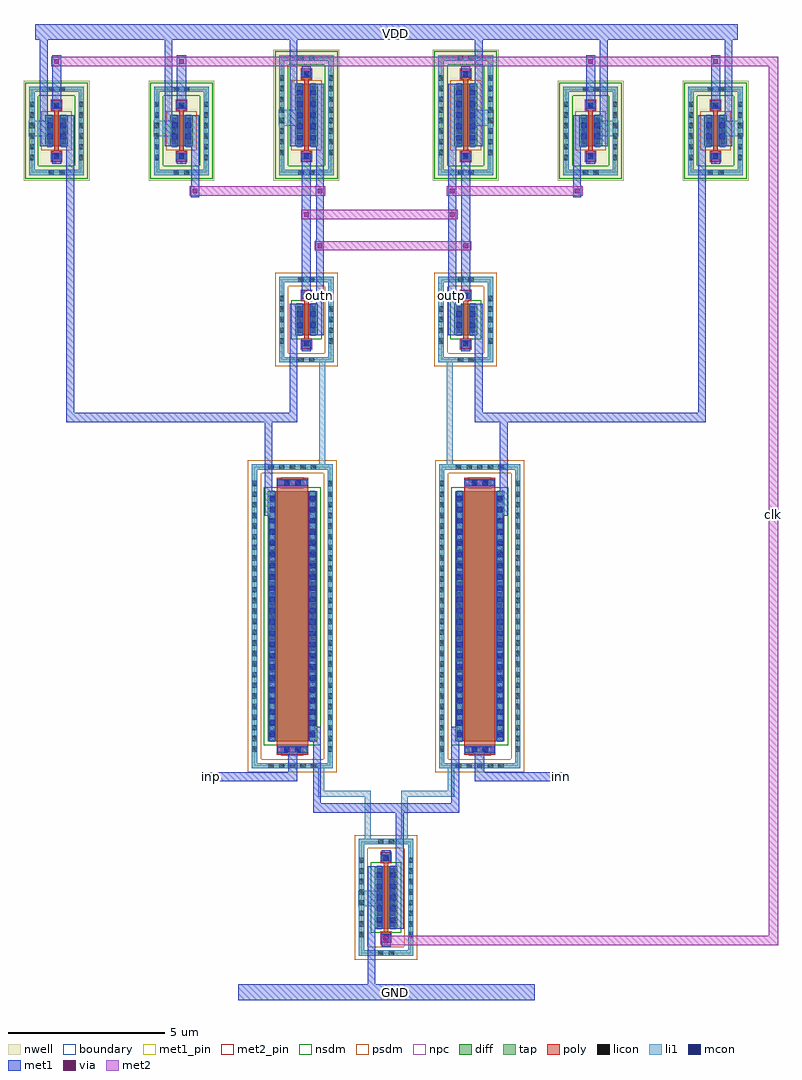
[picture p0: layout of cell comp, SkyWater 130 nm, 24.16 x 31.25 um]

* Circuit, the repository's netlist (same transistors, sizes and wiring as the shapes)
* StrongARM latch comparator (sky130)
.subckt comp clk inp inn outp outn VDD GND
* tail switch: turns the comparator on when clk is high
XM0 tail clk GND GND sky130_fd_pr__nfet_01v8 L=0.15 W=2 nf=1
* input pair: the "race"
XM1 X inp tail GND sky130_fd_pr__nfet_01v8 L=1 W=8 nf=1
XM2 Y inn tail GND sky130_fd_pr__nfet_01v8 L=1 W=8 nf=1
* cross-coupled pair: positive feedback
XM3 outn outp X GND sky130_fd_pr__nfet_01v8 L=0.15 W=1 nf=1
XM4 outp outn Y GND sky130_fd_pr__nfet_01v8 L=0.15 W=1 nf=1
XM5 outn outp VDD VDD sky130_fd_pr__pfet_01v8 L=0.15 W=2 nf=1
XM6 outp outn VDD VDD sky130_fd_pr__pfet_01v8 L=0.15 W=2 nf=1
* reset switches: pull everything to VDD when clk is low
XM7 outn clk VDD VDD sky130_fd_pr__pfet_01v8 L=0.15 W=1 nf=1
XM8 outp clk VDD VDD sky130_fd_pr__pfet_01v8 L=0.15 W=1 nf=1
XM9 X clk VDD VDD sky130_fd_pr__pfet_01v8 L=0.15 W=1 nf=1
XM10 Y clk VDD VDD sky130_fd_pr__pfet_01v8 L=0.15 W=1 nf=1
.ends

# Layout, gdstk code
import gdstk
lib = gdstk.Library(unit=1e-6, precision=1e-09)
def R(c, l, rs):  # rectangles x0, y0, x1, y1
    for r in rs: c.add(gdstk.rectangle(r[:2], r[2:], *l))
def A(c, l, x, y, w, h, nx, ny, dx, dy):  # array of equal rectangles
    R(c, l, [(x+i*dx, y+j*dy, x+i*dx+w, y+j*dy+h) for i in range(nx) for j in range(ny)])
nwell = (64, 20)
diff = (65, 20)
tap = (65, 44)
poly = (66, 20)
licon = (66, 44)
li1 = (67, 20)
mcon = (67, 44)
met1_pin = (68, 16)
met1 = (68, 20)
via = (68, 44)
met2_pin = (69, 16)
met2 = (69, 20)
nsdm = (93, 44)
psdm = (94, 20)
npc = (95, 20)
boundary = (235, 4)

sky130_fd_pr__nfet_01v8_ = lib.new_cell('sky130_fd_pr__nfet_01v8_TPXDG7')
R(sky130_fd_pr__nfet_01v8_, diff, [(-0.79,-4,0.79,4)])
R(sky130_fd_pr__nfet_01v8_, tap, [(-1.3,-4.87,1.3,-4.7), (-1.3,-4.7,-1.13,4.7), (1.13,-4.7,1.3,4.7), (-1.3,4.7,1.3,4.87)])
R(sky130_fd_pr__nfet_01v8_, poly, [(-0.5,-4.44,0.5,4.44)])
A(sky130_fd_pr__nfet_01v8_, licon, -0.765, -4.87, 0.17, 0.17, 5, 2, 0.34, 9.57)
A(sky130_fd_pr__nfet_01v8_, licon, -1.3, -4.335, 0.17, 0.17, 1, 26, 0, 0.34)
A(sky130_fd_pr__nfet_01v8_, licon, 1.13, -4.335, 0.17, 0.17, 1, 26, 0, 0.34)
A(sky130_fd_pr__nfet_01v8_, licon, -0.73, -3.825, 0.17, 0.17, 1, 23, 0, 0.34)
A(sky130_fd_pr__nfet_01v8_, licon, 0.56, -3.825, 0.17, 0.17, 1, 23, 0, 0.34)
R(sky130_fd_pr__nfet_01v8_, licon, [(-0.255,-4.36,-0.085,-4.19), (0.085,-4.36,0.255,-4.19), (-0.255,4.19,-0.085,4.36), (0.085,4.19,0.255,4.36)])
R(sky130_fd_pr__nfet_01v8_, li1, [(-1.3,-4.87,1.3,-4.7), (-1.3,-4.7,-1.13,4.7), (1.13,-4.7,1.3,4.7), (-0.5,-4.36,0.5,-4.19), (-0.73,-4.02,-0.56,4.02), (0.56,-4.02,0.73,4.02), (-0.5,4.19,0.5,4.36), (-1.3,4.7,1.3,4.87)])
A(sky130_fd_pr__nfet_01v8_, mcon, -0.73, -3.865, 0.17, 0.17, 1, 22, 0, 0.36)
A(sky130_fd_pr__nfet_01v8_, mcon, 0.56, -3.865, 0.17, 0.17, 1, 22, 0, 0.36)
R(sky130_fd_pr__nfet_01v8_, mcon, [(-0.265,-4.36,-0.095,-4.19), (0.095,-4.36,0.265,-4.19), (-0.265,4.19,-0.095,4.36), (0.095,4.19,0.265,4.36)])
R(sky130_fd_pr__nfet_01v8_, met1, [(-0.48,-4.39,0.48,-4.16), (-0.76,-4,-0.53,4), (0.53,-4,0.76,4), (-0.48,4.16,0.48,4.39)])
R(sky130_fd_pr__nfet_01v8_, nsdm, [(-0.915,-4.125,0.915,4.125)])
R(sky130_fd_pr__nfet_01v8_, psdm, [(-1.425,-4.995,1.425,-4.575), (-1.425,-4.575,-1.005,4.575), (1.005,-4.575,1.425,4.575), (-1.425,4.575,1.425,4.995)])
R(sky130_fd_pr__nfet_01v8_, npc, [(-0.355,-4.46,0.355,-4.09), (-0.355,4.09,0.355,4.46)])
R(sky130_fd_pr__nfet_01v8_, boundary, [(-1.215,-4.785,1.215,4.785)])
sky130_fd_pr__nfet_01v8_.add(gdstk.Label('B', (0,-4.785), layer=67, texttype=5))
sky130_fd_pr__nfet_01v8_.add(gdstk.Label('D', (-0.645,0), layer=67, texttype=5))
sky130_fd_pr__nfet_01v8_.add(gdstk.Label('S', (0.645,0), layer=67, texttype=5))
sky130_fd_pr__nfet_01v8_.add(gdstk.Label('G', (0,4.275), layer=67, texttype=5))

c_sky130_fd_pr__nfet_01v8_ = lib.new_cell('sky130_fd_pr__nfet_01v8_NK2ZG9')
R(c_sky130_fd_pr__nfet_01v8_, diff, [(-0.365,-1,0.365,1)])
R(c_sky130_fd_pr__nfet_01v8_, tap, [(-0.875,-1.87,0.875,-1.7), (-0.875,-1.7,-0.705,1.7), (0.705,-1.7,0.875,1.7), (-0.875,1.7,0.875,1.87)])
R(c_sky130_fd_pr__nfet_01v8_, poly, [(-0.165,-1.44,0.165,-1.11), (-0.075,-1.11,0.075,1.11), (-0.165,1.11,0.165,1.44)])
A(c_sky130_fd_pr__nfet_01v8_, licon, -0.875, -1.275, 0.17, 0.17, 1, 8, 0, 0.34)
A(c_sky130_fd_pr__nfet_01v8_, licon, 0.705, -1.275, 0.17, 0.17, 1, 8, 0, 0.34)
A(c_sky130_fd_pr__nfet_01v8_, licon, -0.305, -0.935, 0.17, 0.17, 1, 6, 0, 0.34)
A(c_sky130_fd_pr__nfet_01v8_, licon, 0.135, -0.935, 0.17, 0.17, 1, 6, 0, 0.34)
R(c_sky130_fd_pr__nfet_01v8_, licon, [(-0.255,-1.87,-0.085,-1.7), (0.085,-1.87,0.255,-1.7), (-0.085,-1.36,0.085,-1.19), (-0.085,1.19,0.085,1.36), (-0.255,1.7,-0.085,1.87), (0.085,1.7,0.255,1.87)])
R(c_sky130_fd_pr__nfet_01v8_, li1, [(-0.875,-1.87,0.875,-1.7), (-0.875,-1.7,-0.705,1.7), (0.705,-1.7,0.875,1.7), (-0.165,-1.36,0.165,-1.19), (-0.305,-1.02,-0.135,1.02), (0.135,-1.02,0.305,1.02), (-0.165,1.19,0.165,1.36), (-0.875,1.7,0.875,1.87)])
A(c_sky130_fd_pr__nfet_01v8_, mcon, -0.305, -0.805, 0.17, 0.17, 1, 5, 0, 0.36)
A(c_sky130_fd_pr__nfet_01v8_, mcon, 0.135, -0.805, 0.17, 0.17, 1, 5, 0, 0.36)
R(c_sky130_fd_pr__nfet_01v8_, mcon, [(-0.085,-1.36,0.085,-1.19), (-0.085,1.19,0.085,1.36)])
R(c_sky130_fd_pr__nfet_01v8_, met1, [(-0.145,-1.39,0.145,-1.16), (-0.335,-1,-0.105,1), (0.105,-1,0.335,1), (-0.145,1.16,0.145,1.39)])
R(c_sky130_fd_pr__nfet_01v8_, nsdm, [(-0.49,-1.125,0.49,1.125)])
R(c_sky130_fd_pr__nfet_01v8_, psdm, [(-1,-1.995,1,-1.575), (-1,-1.575,-0.58,1.575), (0.58,-1.575,1,1.575), (-1,1.575,1,1.995)])
R(c_sky130_fd_pr__nfet_01v8_, npc, [(-0.185,-1.46,0.185,-1.09), (-0.185,1.09,0.185,1.46)])
R(c_sky130_fd_pr__nfet_01v8_, boundary, [(-0.79,-1.785,0.79,1.785)])
c_sky130_fd_pr__nfet_01v8_.add(gdstk.Label('B', (0,-1.785), layer=67, texttype=5))
c_sky130_fd_pr__nfet_01v8_.add(gdstk.Label('D', (-0.22,0), layer=67, texttype=5))
c_sky130_fd_pr__nfet_01v8_.add(gdstk.Label('S', (0.22,0), layer=67, texttype=5))
c_sky130_fd_pr__nfet_01v8_.add(gdstk.Label('G', (0,1.275), layer=67, texttype=5))

c_sky130_fd_pr__nfet_01v8__ = lib.new_cell('sky130_fd_pr__nfet_01v8_34VMYE')
R(c_sky130_fd_pr__nfet_01v8__, diff, [(-0.365,-0.5,0.365,0.5)])
R(c_sky130_fd_pr__nfet_01v8__, tap, [(-0.875,-1.37,0.875,-1.2), (-0.875,-1.2,-0.705,1.2), (0.705,-1.2,0.875,1.2), (-0.875,1.2,0.875,1.37)])
R(c_sky130_fd_pr__nfet_01v8__, poly, [(-0.165,-0.94,0.165,-0.61), (-0.075,-0.61,0.075,0.61), (-0.165,0.61,0.165,0.94)])
A(c_sky130_fd_pr__nfet_01v8__, licon, -0.875, -0.765, 0.17, 0.17, 1, 5, 0, 0.34)
A(c_sky130_fd_pr__nfet_01v8__, licon, 0.705, -0.765, 0.17, 0.17, 1, 5, 0, 0.34)
A(c_sky130_fd_pr__nfet_01v8__, licon, -0.305, -0.425, 0.17, 0.17, 1, 3, 0, 0.34)
A(c_sky130_fd_pr__nfet_01v8__, licon, 0.135, -0.425, 0.17, 0.17, 1, 3, 0, 0.34)
R(c_sky130_fd_pr__nfet_01v8__, licon, [(-0.255,-1.37,-0.085,-1.2), (0.085,-1.37,0.255,-1.2), (-0.085,-0.86,0.085,-0.69), (-0.085,0.69,0.085,0.86), (-0.255,1.2,-0.085,1.37), (0.085,1.2,0.255,1.37)])
R(c_sky130_fd_pr__nfet_01v8__, li1, [(-0.875,-1.37,0.875,-1.2), (-0.875,-1.2,-0.705,1.2), (0.705,-1.2,0.875,1.2), (-0.165,-0.86,0.165,-0.69), (-0.305,-0.52,-0.135,0.52), (0.135,-0.52,0.305,0.52), (-0.165,0.69,0.165,0.86), (-0.875,1.2,0.875,1.37)])
R(c_sky130_fd_pr__nfet_01v8__, mcon, [(-0.085,-0.86,0.085,-0.69), (-0.305,-0.265,-0.135,-0.095), (0.135,-0.265,0.305,-0.095), (-0.305,0.095,-0.135,0.265), (0.135,0.095,0.305,0.265), (-0.085,0.69,0.085,0.86)])
R(c_sky130_fd_pr__nfet_01v8__, met1, [(-0.145,-0.89,0.145,-0.66), (-0.335,-0.5,-0.105,0.5), (0.105,-0.5,0.335,0.5), (-0.145,0.66,0.145,0.89)])
R(c_sky130_fd_pr__nfet_01v8__, nsdm, [(-0.49,-0.625,0.49,0.625)])
R(c_sky130_fd_pr__nfet_01v8__, psdm, [(-1,-1.495,1,-1.075), (-1,-1.075,-0.58,1.075), (0.58,-1.075,1,1.075), (-1,1.075,1,1.495)])
R(c_sky130_fd_pr__nfet_01v8__, npc, [(-0.185,-0.96,0.185,-0.59), (-0.185,0.59,0.185,0.96)])
R(c_sky130_fd_pr__nfet_01v8__, boundary, [(-0.79,-1.285,0.79,1.285)])
c_sky130_fd_pr__nfet_01v8__.add(gdstk.Label('B', (0,-1.285), layer=67, texttype=5))
c_sky130_fd_pr__nfet_01v8__.add(gdstk.Label('D', (-0.22,0), layer=67, texttype=5))
c_sky130_fd_pr__nfet_01v8__.add(gdstk.Label('S', (0.22,0), layer=67, texttype=5))
c_sky130_fd_pr__nfet_01v8__.add(gdstk.Label('G', (0,0.775), layer=67, texttype=5))

sky130_fd_pr__pfet_01v8_ = lib.new_cell('sky130_fd_pr__pfet_01v8_7HN6Y2')
R(sky130_fd_pr__pfet_01v8_, nwell, [(-1.055,-1.595,1.055,1.595)])
R(sky130_fd_pr__pfet_01v8_, diff, [(-0.365,-0.5,0.365,0.5)])
R(sky130_fd_pr__pfet_01v8_, tap, [(-0.875,-1.415,0.875,-1.245), (-0.875,-1.245,-0.705,1.245), (0.705,-1.245,0.875,1.245), (-0.875,1.245,0.875,1.415)])
R(sky130_fd_pr__pfet_01v8_, poly, [(-0.165,-0.985,0.165,-0.655), (-0.075,-0.655,0.075,0.655), (-0.165,0.655,0.165,0.985)])
A(sky130_fd_pr__pfet_01v8_, licon, -0.875, -0.935, 0.17, 0.17, 1, 6, 0, 0.34)
A(sky130_fd_pr__pfet_01v8_, licon, 0.705, -0.935, 0.17, 0.17, 1, 6, 0, 0.34)
A(sky130_fd_pr__pfet_01v8_, licon, -0.305, -0.425, 0.17, 0.17, 1, 3, 0, 0.34)
A(sky130_fd_pr__pfet_01v8_, licon, 0.135, -0.425, 0.17, 0.17, 1, 3, 0, 0.34)
R(sky130_fd_pr__pfet_01v8_, licon, [(-0.255,-1.415,-0.085,-1.245), (0.085,-1.415,0.255,-1.245), (-0.085,-0.905,0.085,-0.735), (-0.085,0.735,0.085,0.905), (-0.255,1.245,-0.085,1.415), (0.085,1.245,0.255,1.415)])
R(sky130_fd_pr__pfet_01v8_, li1, [(-0.875,-1.415,0.875,-1.245), (-0.875,-1.245,-0.705,1.245), (0.705,-1.245,0.875,1.245), (-0.165,-0.905,0.165,-0.735), (-0.305,-0.52,-0.135,0.52), (0.135,-0.52,0.305,0.52), (-0.165,0.735,0.165,0.905), (-0.875,1.245,0.875,1.415)])
R(sky130_fd_pr__pfet_01v8_, mcon, [(-0.085,-0.905,0.085,-0.735), (-0.305,-0.265,-0.135,-0.095), (0.135,-0.265,0.305,-0.095), (-0.305,0.095,-0.135,0.265), (0.135,0.095,0.305,0.265), (-0.085,0.735,0.085,0.905)])
R(sky130_fd_pr__pfet_01v8_, met1, [(-0.145,-0.935,0.145,-0.705), (-0.335,-0.5,-0.105,0.5), (0.105,-0.5,0.335,0.5), (-0.145,0.705,0.145,0.935)])
R(sky130_fd_pr__pfet_01v8_, nsdm, [(-1,-1.54,1,-1.12), (-1,-1.12,-0.58,1.12), (0.58,-1.12,1,1.12), (-1,1.12,1,1.54)])
R(sky130_fd_pr__pfet_01v8_, psdm, [(-0.49,-0.625,0.49,0.625)])
R(sky130_fd_pr__pfet_01v8_, npc, [(-0.185,-1.005,0.185,-0.635), (-0.185,0.635,0.185,1.005)])
R(sky130_fd_pr__pfet_01v8_, boundary, [(-0.79,-1.33,0.79,1.33)])
sky130_fd_pr__pfet_01v8_.add(gdstk.Label('B', (0,-1.33), layer=67, texttype=5))
sky130_fd_pr__pfet_01v8_.add(gdstk.Label('D', (-0.22,0), layer=67, texttype=5))
sky130_fd_pr__pfet_01v8_.add(gdstk.Label('S', (0.22,0), layer=67, texttype=5))
sky130_fd_pr__pfet_01v8_.add(gdstk.Label('G', (0,0.82), layer=67, texttype=5))

c_sky130_fd_pr__pfet_01v8_ = lib.new_cell('sky130_fd_pr__pfet_01v8_VJT448')
R(c_sky130_fd_pr__pfet_01v8_, nwell, [(-1.055,-2.095,1.055,2.095)])
R(c_sky130_fd_pr__pfet_01v8_, diff, [(-0.365,-1,0.365,1)])
R(c_sky130_fd_pr__pfet_01v8_, tap, [(-0.875,-1.915,0.875,-1.745), (-0.875,-1.745,-0.705,1.745), (0.705,-1.745,0.875,1.745), (-0.875,1.745,0.875,1.915)])
R(c_sky130_fd_pr__pfet_01v8_, poly, [(-0.165,-1.485,0.165,-1.155), (-0.075,-1.155,0.075,1.155), (-0.165,1.155,0.165,1.485)])
A(c_sky130_fd_pr__pfet_01v8_, licon, -0.875, -1.275, 0.17, 0.17, 1, 8, 0, 0.34)
A(c_sky130_fd_pr__pfet_01v8_, licon, 0.705, -1.275, 0.17, 0.17, 1, 8, 0, 0.34)
A(c_sky130_fd_pr__pfet_01v8_, licon, -0.305, -0.935, 0.17, 0.17, 1, 6, 0, 0.34)
A(c_sky130_fd_pr__pfet_01v8_, licon, 0.135, -0.935, 0.17, 0.17, 1, 6, 0, 0.34)
R(c_sky130_fd_pr__pfet_01v8_, licon, [(-0.255,-1.915,-0.085,-1.745), (0.085,-1.915,0.255,-1.745), (-0.085,-1.405,0.085,-1.235), (-0.085,1.235,0.085,1.405), (-0.255,1.745,-0.085,1.915), (0.085,1.745,0.255,1.915)])
R(c_sky130_fd_pr__pfet_01v8_, li1, [(-0.875,-1.915,0.875,-1.745), (-0.875,-1.745,-0.705,1.745), (0.705,-1.745,0.875,1.745), (-0.165,-1.405,0.165,-1.235), (-0.305,-1.02,-0.135,1.02), (0.135,-1.02,0.305,1.02), (-0.165,1.235,0.165,1.405), (-0.875,1.745,0.875,1.915)])
A(c_sky130_fd_pr__pfet_01v8_, mcon, -0.305, -0.805, 0.17, 0.17, 1, 5, 0, 0.36)
A(c_sky130_fd_pr__pfet_01v8_, mcon, 0.135, -0.805, 0.17, 0.17, 1, 5, 0, 0.36)
R(c_sky130_fd_pr__pfet_01v8_, mcon, [(-0.085,-1.405,0.085,-1.235), (-0.085,1.235,0.085,1.405)])
R(c_sky130_fd_pr__pfet_01v8_, met1, [(-0.145,-1.435,0.145,-1.205), (-0.335,-1,-0.105,1), (0.105,-1,0.335,1), (-0.145,1.205,0.145,1.435)])
R(c_sky130_fd_pr__pfet_01v8_, nsdm, [(-1,-2.04,1,-1.62), (-1,-1.62,-0.58,1.62), (0.58,-1.62,1,1.62), (-1,1.62,1,2.04)])
R(c_sky130_fd_pr__pfet_01v8_, psdm, [(-0.49,-1.125,0.49,1.125)])
R(c_sky130_fd_pr__pfet_01v8_, npc, [(-0.185,-1.505,0.185,-1.135), (-0.185,1.135,0.185,1.505)])
R(c_sky130_fd_pr__pfet_01v8_, boundary, [(-0.79,-1.83,0.79,1.83)])
c_sky130_fd_pr__pfet_01v8_.add(gdstk.Label('B', (0,-1.83), layer=67, texttype=5))
c_sky130_fd_pr__pfet_01v8_.add(gdstk.Label('D', (-0.22,0), layer=67, texttype=5))
c_sky130_fd_pr__pfet_01v8_.add(gdstk.Label('S', (0.22,0), layer=67, texttype=5))
c_sky130_fd_pr__pfet_01v8_.add(gdstk.Label('G', (0,1.32), layer=67, texttype=5))

comp = lib.new_cell('comp')
R(comp, li1, [(-1.15,1.5,-0.395,2), (-0.95,3.5,-0.75,5), (0.23,3.5,0.43,5), (-2.44,5,-0.75,5.2), (0.23,5,1.92,5.2), (-2.44,5.2,-2.24,6.085), (1.72,5.2,1.92,6.085), (-2.4,15.485,-2.2,19), (1.68,15.485,1.88,19), (-11.7,26.15,-10.945,26.65), (-7.7,26.15,-6.945,26.65), (6.425,26.15,7.18,26.65), (10.425,26.15,11.18,26.65), (-3.7,26.5,-2.945,27), (2.425,26.5,3.18,27)])
R(comp, met1_pin, [(0,-1.3,0.1,-1.2), (-5.9,5.6,-5.8,5.7), (5.3,5.6,5.4,5.7), (-2.45,21,-2.35,21.1), (1.8,21,1.9,21.1), (0,29.4,0.1,29.5)])
R(comp, met1, [(-5,-1.5,4.5,-1), (-0.85,-1,-0.6,0.785), (-0.405,0.2,-0.115,0.625), (-0.85,0.785,-0.365,2.785), (-0.155,0.785,0.3,2.785), (0.05,2.785,0.3,4.5), (-0.405,2.945,-0.115,3.3), (-2.6,4.5,2.08,4.8), (-2.6,4.8,-2.35,6.785), (1.83,4.8,2.08,6.785), (-6,5.5,-3.1,5.8), (2.58,5.5,5.48,5.8), (-3.4,5.8,-3.1,6.625), (2.58,5.8,2.88,6.625), (-2.73,6.785,-2.35,7.25), (1.83,6.785,2.21,7.25), (-4.15,14,-3.79,14.785), (3.27,14,3.63,14.785), (-4.15,14.785,-3.9,17), (3.38,14.785,3.63,17), (-10.5,17,-3.1,17.3), (2.58,17,9.98,17.3), (-10.5,17.3,-10.25,25.83), (-3.35,17.3,-3.1,19.785), (2.58,17.3,2.83,19.785), (9.73,17.3,9.98,25.83), (-2.955,19.27,-2.665,19.625), (2.145,19.27,2.435,19.625), (-3.35,19.785,-2.915,20.785), (-2.705,19.785,-2.25,20.785), (1.73,19.785,2.185,20.785), (2.395,19.785,2.83,20.785), (-2.5,20.785,-2.25,22.48), (1.73,20.785,1.98,23.48), (-2.955,20.945,-2.665,25.625), (2.145,20.945,2.435,25.625), (-2.51,22.48,-2.25,22.82), (-2.5,22.82,-2.25,24.23), (1.73,23.48,1.99,23.82), (1.73,23.82,1.98,24.23), (-6.51,24.2,-6.25,24.57), (5.73,24.2,5.99,24.57), (-2.51,24.23,-2.25,24.57), (1.73,24.23,1.99,24.57), (-6.5,24.57,-6.25,25.83), (-2.5,24.57,-2.25,25.83), (1.73,24.57,1.98,25.83), (5.73,24.57,5.98,25.83), (-10.955,25.27,-10.665,25.625), (-6.955,25.27,-6.665,25.625), (6.145,25.27,6.435,25.625), (10.145,25.27,10.435,25.625), (-11.35,25.83,-10.915,26.83), (-10.705,25.83,-10.25,26.83), (-7.35,25.83,-6.915,26.83), (-6.705,25.83,-6.25,26.83), (-3.35,25.83,-2.915,27.83), (-2.705,25.83,-2.25,27.83), (1.73,25.83,2.185,27.83), (2.395,25.83,2.83,27.83), (5.73,25.83,6.185,26.83), (6.395,25.83,6.83,26.83), (9.73,25.83,10.185,26.83), (10.395,25.83,10.83,26.83), (-11.35,26.83,-11.1,29.25), (-7.35,26.83,-7.1,29.25), (6.58,26.83,6.83,29.25), (10.58,26.83,10.83,29.25), (-10.955,27.035,-10.665,28.75), (-6.955,27.035,-6.665,28.75), (6.145,27.035,6.435,28.75), (10.145,27.035,10.435,28.75), (-3.35,27.83,-3.1,29.25), (2.58,27.83,2.83,29.25), (-2.955,28.035,-2.665,28.4), (2.145,28.035,2.435,28.4), (-11.5,29.25,11,29.75)])
R(comp, via, [(-0.335,0.325,-0.185,0.475), (-2.455,22.575,-2.305,22.725), (2.215,22.575,2.365,22.725), (-2.885,23.575,-2.735,23.725), (1.785,23.575,1.935,23.725), (-6.455,24.325,-6.305,24.475), (-2.455,24.325,-2.305,24.475), (1.785,24.325,1.935,24.475), (5.785,24.325,5.935,24.475), (-10.885,28.475,-10.735,28.625), (-6.885,28.475,-6.735,28.625), (6.215,28.475,6.365,28.625), (10.215,28.475,10.365,28.625)])
R(comp, met2_pin, [(12.1,14,12.2,14.1)])
R(comp, met2, [(-0.43,0.25,12.3,0.55), (12,0.55,12.3,28.4), (-2.55,22.5,2.46,22.8), (-2.98,23.5,2.03,23.8), (-6.55,24.25,-2.21,24.55), (1.69,24.25,6.03,24.55), (-10.98,28.4,12.3,28.7)])
comp.add(gdstk.Reference(sky130_fd_pr__nfet_01v8_, (-3.26,10.785)))
comp.add(gdstk.Reference(c_sky130_fd_pr__nfet_01v8_, (-0.26,1.785)))
comp.add(gdstk.Reference(sky130_fd_pr__nfet_01v8_, (2.74,10.785)))
comp.add(gdstk.Reference(c_sky130_fd_pr__nfet_01v8__, (-2.81,20.285)))
comp.add(gdstk.Reference(c_sky130_fd_pr__nfet_01v8__, (2.29,20.285)))
comp.add(gdstk.Reference(sky130_fd_pr__pfet_01v8_, (-6.81,26.33)))
comp.add(gdstk.Reference(sky130_fd_pr__pfet_01v8_, (-10.81,26.33)))
comp.add(gdstk.Reference(c_sky130_fd_pr__pfet_01v8_, (-2.81,26.83)))
comp.add(gdstk.Reference(c_sky130_fd_pr__pfet_01v8_, (2.29,26.83)))
comp.add(gdstk.Reference(sky130_fd_pr__pfet_01v8_, (6.29,26.33)))
comp.add(gdstk.Reference(sky130_fd_pr__pfet_01v8_, (10.29,26.33)))
comp.add(gdstk.Label('clk', (12.15,14.05), layer=69, texttype=5))
comp.add(gdstk.Label('inp', (-5.85,5.65), layer=68, texttype=5))
comp.add(gdstk.Label('inn', (5.35,5.65), layer=68, texttype=5))
comp.add(gdstk.Label('outp', (1.85,21.05), layer=68, texttype=5))
comp.add(gdstk.Label('outn', (-2.4,21.05), layer=68, texttype=5))
comp.add(gdstk.Label('VDD', (0.05,29.45), layer=68, texttype=5))
comp.add(gdstk.Label('GND', (0.05,-1.25), layer=68, texttype=5))

lib.write_gds('comp.gds')
